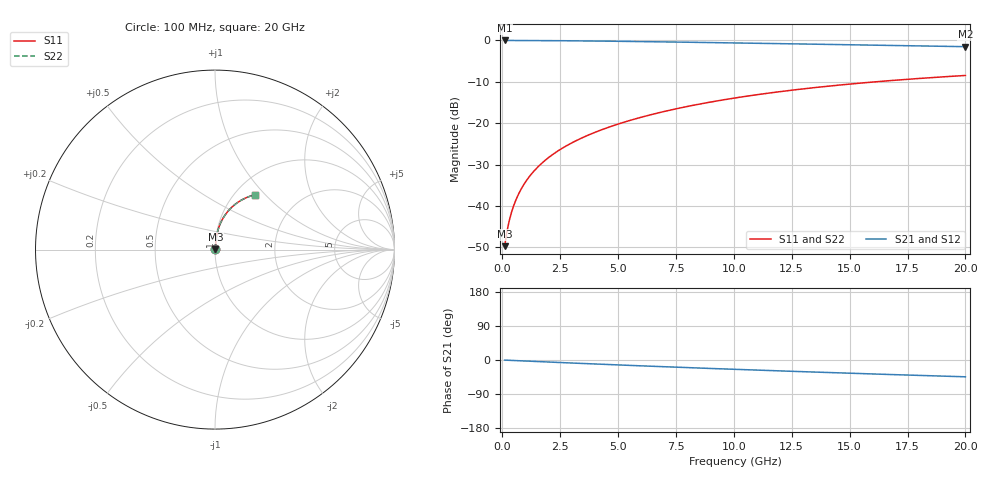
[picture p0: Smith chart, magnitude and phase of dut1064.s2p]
! Touchstone file exported from HFSS 2024.1.0
!  File:  C:/UserFiles/LocalFiles/RDL_TSV_Batchsim/temp_RDL_top_1064_1780044947.aedt
!  Generated:  04:58:03 PM May 29, 2026
!  Design:  RDL_top
!  Project:  temp_RDL_top_1064_1780044947
!  Setup:  Setup1
!  Solution:  Sweep
! Variables:
!  dtsv = 10.80580581um
!  hbump = 3um
!  htsv = 93.49um
!  ldown = 100um
!  lrdl = 649.66um
!  p = 40
!  p1 = 48.96um
!  rhole = 1um
!  t = 450um
!  tdown = 3.915915916um
!  trdl = 4.63um
!  wdown = 15.38538539um
!  wrdl = 21.3um
# GHz S MA R 50.000000
! Terminal data exported
! Port[1] = Box2_T1
! Port[2] = Box2_T2
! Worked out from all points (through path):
!   200 points, 100 MHz to 20 GHz, reference 50 ohm
!   highest |S21| = -0.02 dB at 100 MHz (marker M1); lowest = -1.5 dB at 20 GHz (marker M2)
!   group delay of S21, straight-line fit = 6.11 ps
!   lowest |S11| = -49.7 dB at 100 MHz (marker M3), VSWR 1.01, Z = 50.3 + j0.211 ohm
!   |S11| at or under -10 dB: start of sweep to 16.14 GHz
!   |S22| runs from -49.7 to -8.5 dB; largest |S21 - S12| = 1e-14
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0.1  0.003266 40.1  0.9975 -0.3  0.9975 -0.3  0.003266 40.1
! Gamma 0 0 0 0
! Port Impedance 50 0 50 0
0.2  0.004885 57.1  0.9973 -0.6  0.9973 -0.6  0.004885 57.1
0.3  0.006633 65.0  0.9971 -0.8  0.9971 -0.8  0.006633 65.0
0.4  0.008412 69.7  0.997 -1.1  0.997 -1.1  0.008412 69.7
0.5  0.01021 72.9  0.9968 -1.4  0.9968 -1.4  0.01021 72.9
0.6  0.01203 75.1  0.9967 -1.6  0.9967 -1.6  0.01203 75.2
0.8  0.01572 78.1  0.9963 -2.2  0.9963 -2.2  0.01572 78.1
1.1  0.02133 80.6  0.9957 -3.0  0.9957 -3.0  0.02133 80.6
1.5  0.02889 82.3  0.9946 -4.0  0.9946 -4.0  0.02889 82.3
1.8  0.0346 82.9  0.9936 -4.8  0.9936 -4.8  0.0346 82.9
2.1  0.04034 83.3  0.9924 -5.6  0.9924 -5.6  0.04034 83.3
2.7  0.05191 83.5  0.9896 -7.2  0.9896 -7.2  0.05191 83.5
3.5  0.06754 83.3  0.9851 -9.3  0.9851 -9.3  0.06754 83.3
4.2  0.0814 82.8  0.9805 -11.0  0.9805 -11.0  0.0814 82.8
5  0.09748 82.0  0.9747 -13.0  0.9747 -13.0  0.09748 82.0
6.8  0.1344 79.5  0.9601 -17.3  0.9601 -17.3  0.1344 79.5
8.4  0.1676 76.8  0.9462 -21.0  0.9462 -21.0  0.1676 76.8
10.1  0.2025 73.6  0.9307 -24.7  0.9307 -24.7  0.2025 73.6
11.7  0.2345 70.4  0.9159 -28.2  0.9159 -28.2  0.2346 70.4
13.4  0.2672 67.0  0.9 -31.7  0.9 -31.7  0.2672 67.0
16.7  0.3256 60.4  0.8692 -38.2  0.8692 -38.2  0.3256 60.4
20  0.3766 54.1  0.8391 -44.3  0.8391 -44.3  0.3766 54.1
